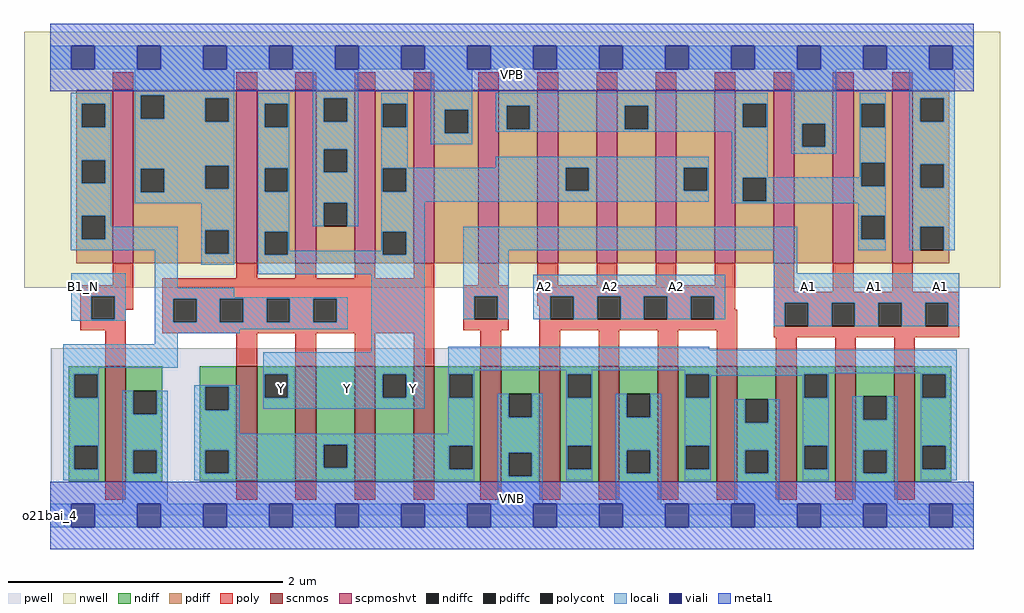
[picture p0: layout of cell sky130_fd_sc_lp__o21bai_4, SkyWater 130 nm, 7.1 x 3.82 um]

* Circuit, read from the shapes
.subckt sky130_fd_sc_lp__o21bai_4 A1 A2 B1_N VGND VNB VPB VPWR Y
XM1 VGND B1_N n1 VNB sky130_fd_pr__nfet_01v8 w=0.84 l=0.15
XM2 Y n1 n2 VNB sky130_fd_pr__nfet_01v8 w=0.84 l=0.15 m=4
XM3 VGND A1 n2 VNB sky130_fd_pr__nfet_01v8 w=0.84 l=0.15 m=4
XM4 n2 A2 VGND VNB sky130_fd_pr__nfet_01v8 w=0.84 l=0.15 m=4
XM5 VPWR B1_N n1 VPB sky130_fd_pr__pfet_01v8_hvt w=1.26 l=0.15
XM6 Y n1 VPWR VPB sky130_fd_pr__pfet_01v8_hvt w=1.26 l=0.15 m=4
XM7 n3 A1 VPWR VPB sky130_fd_pr__pfet_01v8_hvt w=1.26 l=0.15 m=4
XM8 Y A2 n3 VPB sky130_fd_pr__pfet_01v8_hvt w=1.26 l=0.15 m=4
.ends

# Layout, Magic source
magic
tech sky130A
magscale 1 2
<< nwell >>
rect -38 331 1382 704
<< pwell >>
rect 1 49 1337 243
rect 0 0 1344 49
<< scnmos >>
rect 80 49 110 217
rect 271 49 301 217
rect 357 49 387 217
rect 443 49 473 217
rect 529 49 559 217
rect 626 49 656 217
rect 712 49 742 217
rect 798 49 828 217
rect 884 49 914 217
rect 970 49 1000 217
rect 1056 49 1086 217
rect 1142 49 1172 217
rect 1228 49 1258 217
<< scpmoshvt >>
rect 91 367 121 619
rect 271 367 301 619
rect 357 367 387 619
rect 443 367 473 619
rect 529 367 559 619
rect 623 367 653 619
rect 709 367 739 619
rect 795 367 825 619
rect 881 367 911 619
rect 967 367 997 619
rect 1053 367 1083 619
rect 1139 367 1169 619
rect 1225 367 1255 619
<< ndiff >>
rect 27 205 80 217
rect 27 171 35 205
rect 69 171 80 205
rect 27 101 80 171
rect 27 67 35 101
rect 69 67 80 101
rect 27 49 80 67
rect 110 181 163 217
rect 110 147 121 181
rect 155 147 163 181
rect 110 95 163 147
rect 110 61 121 95
rect 155 61 163 95
rect 110 49 163 61
rect 218 187 271 217
rect 218 153 226 187
rect 260 153 271 187
rect 218 95 271 153
rect 218 61 226 95
rect 260 61 271 95
rect 218 49 271 61
rect 301 205 357 217
rect 301 171 312 205
rect 346 171 357 205
rect 301 49 357 171
rect 387 103 443 217
rect 387 69 398 103
rect 432 69 443 103
rect 387 49 443 69
rect 473 205 529 217
rect 473 171 484 205
rect 518 171 529 205
rect 473 49 529 171
rect 559 205 626 217
rect 559 171 581 205
rect 615 171 626 205
rect 559 101 626 171
rect 559 67 581 101
rect 615 67 626 101
rect 559 49 626 67
rect 656 177 712 217
rect 656 143 667 177
rect 701 143 712 177
rect 656 91 712 143
rect 656 57 667 91
rect 701 57 712 91
rect 656 49 712 57
rect 742 205 798 217
rect 742 171 753 205
rect 787 171 798 205
rect 742 101 798 171
rect 742 67 753 101
rect 787 67 798 101
rect 742 49 798 67
rect 828 177 884 217
rect 828 143 839 177
rect 873 143 884 177
rect 828 95 884 143
rect 828 61 839 95
rect 873 61 884 95
rect 828 49 884 61
rect 914 205 970 217
rect 914 171 925 205
rect 959 171 970 205
rect 914 101 970 171
rect 914 67 925 101
rect 959 67 970 101
rect 914 49 970 67
rect 1000 169 1056 217
rect 1000 135 1011 169
rect 1045 135 1056 169
rect 1000 95 1056 135
rect 1000 61 1011 95
rect 1045 61 1056 95
rect 1000 49 1056 61
rect 1086 205 1142 217
rect 1086 171 1097 205
rect 1131 171 1142 205
rect 1086 101 1142 171
rect 1086 67 1097 101
rect 1131 67 1142 101
rect 1086 49 1142 67
rect 1172 173 1228 217
rect 1172 139 1183 173
rect 1217 139 1228 173
rect 1172 95 1228 139
rect 1172 61 1183 95
rect 1217 61 1228 95
rect 1172 49 1228 61
rect 1258 205 1311 217
rect 1258 171 1269 205
rect 1303 171 1311 205
rect 1258 101 1311 171
rect 1258 67 1269 101
rect 1303 67 1311 101
rect 1258 49 1311 67
<< pdiff >>
rect 38 599 91 619
rect 38 565 46 599
rect 80 565 91 599
rect 38 517 91 565
rect 38 483 46 517
rect 80 483 91 517
rect 38 436 91 483
rect 38 402 46 436
rect 80 402 91 436
rect 38 367 91 402
rect 121 611 271 619
rect 121 577 132 611
rect 166 607 271 611
rect 166 577 226 607
rect 121 573 226 577
rect 260 573 271 607
rect 121 509 271 573
rect 121 504 226 509
rect 121 470 132 504
rect 166 475 226 504
rect 260 475 271 509
rect 166 470 271 475
rect 121 415 271 470
rect 121 381 226 415
rect 260 381 271 415
rect 121 367 271 381
rect 301 599 357 619
rect 301 565 312 599
rect 346 565 357 599
rect 301 505 357 565
rect 301 471 312 505
rect 346 471 357 505
rect 301 413 357 471
rect 301 379 312 413
rect 346 379 357 413
rect 301 367 357 379
rect 387 607 443 619
rect 387 573 398 607
rect 432 573 443 607
rect 387 533 443 573
rect 387 499 398 533
rect 432 499 443 533
rect 387 455 443 499
rect 387 421 398 455
rect 432 421 443 455
rect 387 367 443 421
rect 473 599 529 619
rect 473 565 484 599
rect 518 565 529 599
rect 473 505 529 565
rect 473 471 484 505
rect 518 471 529 505
rect 473 413 529 471
rect 473 379 484 413
rect 518 379 529 413
rect 473 367 529 379
rect 559 590 623 619
rect 559 556 574 590
rect 608 556 623 590
rect 559 367 623 556
rect 653 596 709 619
rect 653 562 664 596
rect 698 562 709 596
rect 653 367 709 562
rect 739 506 795 619
rect 739 472 750 506
rect 784 472 795 506
rect 739 367 795 472
rect 825 596 881 619
rect 825 562 836 596
rect 870 562 881 596
rect 825 367 881 562
rect 911 506 967 619
rect 911 472 922 506
rect 956 472 967 506
rect 911 367 967 472
rect 997 599 1053 619
rect 997 565 1008 599
rect 1042 565 1053 599
rect 997 491 1053 565
rect 997 457 1008 491
rect 1042 457 1053 491
rect 997 367 1053 457
rect 1083 570 1139 619
rect 1083 536 1094 570
rect 1128 536 1139 570
rect 1083 367 1139 536
rect 1169 599 1225 619
rect 1169 565 1180 599
rect 1214 565 1225 599
rect 1169 513 1225 565
rect 1169 479 1180 513
rect 1214 479 1225 513
rect 1169 436 1225 479
rect 1169 402 1180 436
rect 1214 402 1225 436
rect 1169 367 1225 402
rect 1255 607 1308 619
rect 1255 573 1266 607
rect 1300 573 1308 607
rect 1255 511 1308 573
rect 1255 477 1266 511
rect 1300 477 1308 511
rect 1255 420 1308 477
rect 1255 386 1266 420
rect 1300 386 1308 420
rect 1255 367 1308 386
<< ndiffc >>
rect 35 171 69 205
rect 35 67 69 101
rect 121 147 155 181
rect 121 61 155 95
rect 226 153 260 187
rect 226 61 260 95
rect 312 171 346 205
rect 398 69 432 103
rect 484 171 518 205
rect 581 171 615 205
rect 581 67 615 101
rect 667 143 701 177
rect 667 57 701 91
rect 753 171 787 205
rect 753 67 787 101
rect 839 143 873 177
rect 839 61 873 95
rect 925 171 959 205
rect 925 67 959 101
rect 1011 135 1045 169
rect 1011 61 1045 95
rect 1097 171 1131 205
rect 1097 67 1131 101
rect 1183 139 1217 173
rect 1183 61 1217 95
rect 1269 171 1303 205
rect 1269 67 1303 101
<< pdiffc >>
rect 46 565 80 599
rect 46 483 80 517
rect 46 402 80 436
rect 132 577 166 611
rect 226 573 260 607
rect 132 470 166 504
rect 226 475 260 509
rect 226 381 260 415
rect 312 565 346 599
rect 312 471 346 505
rect 312 379 346 413
rect 398 573 432 607
rect 398 499 432 533
rect 398 421 432 455
rect 484 565 518 599
rect 484 471 518 505
rect 484 379 518 413
rect 574 556 608 590
rect 664 562 698 596
rect 750 472 784 506
rect 836 562 870 596
rect 922 472 956 506
rect 1008 565 1042 599
rect 1008 457 1042 491
rect 1094 536 1128 570
rect 1180 565 1214 599
rect 1180 479 1214 513
rect 1180 402 1214 436
rect 1266 573 1300 607
rect 1266 477 1300 511
rect 1266 386 1300 420
<< poly >>
rect 91 619 121 645
rect 271 619 301 645
rect 357 619 387 645
rect 443 619 473 645
rect 529 619 559 645
rect 623 619 653 645
rect 709 619 739 645
rect 795 619 825 645
rect 881 619 911 645
rect 967 619 997 645
rect 1053 619 1083 645
rect 1139 619 1169 645
rect 1225 619 1255 645
rect 91 335 121 367
rect 271 345 301 367
rect 357 345 387 367
rect 443 345 473 367
rect 529 345 559 367
rect 44 319 121 335
rect 44 285 60 319
rect 94 299 121 319
rect 163 315 559 345
rect 623 335 653 367
rect 709 335 739 367
rect 795 335 825 367
rect 881 335 911 367
rect 967 335 997 367
rect 94 285 110 299
rect 44 269 110 285
rect 80 217 110 269
rect 163 281 179 315
rect 213 281 247 315
rect 281 281 315 315
rect 349 281 383 315
rect 417 281 559 315
rect 163 265 559 281
rect 601 319 667 335
rect 601 285 617 319
rect 651 285 667 319
rect 709 319 997 335
rect 709 305 728 319
rect 601 269 667 285
rect 712 285 728 305
rect 762 285 796 319
rect 830 285 864 319
rect 898 285 932 319
rect 966 299 997 319
rect 1053 325 1083 367
rect 1139 325 1169 367
rect 1225 325 1255 367
rect 1053 309 1323 325
rect 966 285 1000 299
rect 712 269 1000 285
rect 271 217 301 265
rect 357 217 387 265
rect 443 217 473 265
rect 529 217 559 265
rect 626 217 656 269
rect 712 217 742 269
rect 798 217 828 269
rect 884 217 914 269
rect 970 217 1000 269
rect 1053 275 1069 309
rect 1103 275 1137 309
rect 1171 275 1205 309
rect 1239 275 1273 309
rect 1307 275 1323 309
rect 1053 259 1323 275
rect 1056 217 1086 259
rect 1142 217 1172 259
rect 1228 217 1258 259
rect 80 23 110 49
rect 271 23 301 49
rect 357 23 387 49
rect 443 23 473 49
rect 529 23 559 49
rect 626 23 656 49
rect 712 23 742 49
rect 798 23 828 49
rect 884 23 914 49
rect 970 23 1000 49
rect 1056 23 1086 49
rect 1142 23 1172 49
rect 1228 23 1258 49
<< polycont >>
rect 60 285 94 319
rect 179 281 213 315
rect 247 281 281 315
rect 315 281 349 315
rect 383 281 417 315
rect 617 285 651 319
rect 728 285 762 319
rect 796 285 830 319
rect 864 285 898 319
rect 932 285 966 319
rect 1069 275 1103 309
rect 1137 275 1171 309
rect 1205 275 1239 309
rect 1273 275 1307 309
<< locali >>
rect 0 649 31 683
rect 65 649 127 683
rect 161 649 223 683
rect 257 649 319 683
rect 353 649 415 683
rect 449 649 511 683
rect 545 649 607 683
rect 641 649 703 683
rect 737 649 799 683
rect 833 649 895 683
rect 929 649 991 683
rect 1025 649 1087 683
rect 1121 649 1183 683
rect 1217 649 1279 683
rect 1313 649 1344 683
rect 30 599 89 615
rect 30 565 46 599
rect 80 565 89 599
rect 30 517 89 565
rect 30 483 46 517
rect 80 483 89 517
rect 30 436 89 483
rect 123 611 268 649
rect 123 577 132 611
rect 166 607 268 611
rect 166 577 226 607
rect 123 573 226 577
rect 260 573 268 607
rect 123 509 268 573
rect 123 504 226 509
rect 123 470 132 504
rect 166 475 226 504
rect 260 475 268 509
rect 166 470 268 475
rect 123 454 268 470
rect 30 402 46 436
rect 80 420 89 436
rect 80 402 186 420
rect 30 386 186 402
rect 31 319 110 352
rect 31 285 60 319
rect 94 285 110 319
rect 31 283 110 285
rect 152 331 186 386
rect 220 415 268 454
rect 220 381 226 415
rect 260 381 268 415
rect 220 365 268 381
rect 302 599 348 615
rect 302 565 312 599
rect 346 565 348 599
rect 302 505 348 565
rect 302 471 312 505
rect 346 471 348 505
rect 302 413 348 471
rect 382 607 448 649
rect 382 573 398 607
rect 432 573 448 607
rect 382 533 448 573
rect 382 499 398 533
rect 432 499 448 533
rect 382 455 448 499
rect 382 421 398 455
rect 432 421 448 455
rect 482 599 520 615
rect 482 565 484 599
rect 518 565 520 599
rect 482 506 520 565
rect 554 590 614 649
rect 554 556 574 590
rect 608 556 614 590
rect 648 599 1044 615
rect 648 596 1008 599
rect 648 562 664 596
rect 698 562 836 596
rect 870 565 1008 596
rect 1042 565 1044 599
rect 870 562 1044 565
rect 648 558 1044 562
rect 554 540 614 556
rect 648 506 958 522
rect 482 505 750 506
rect 482 471 484 505
rect 518 472 750 505
rect 784 472 922 506
rect 956 472 958 506
rect 518 471 958 472
rect 482 456 958 471
rect 992 492 1044 558
rect 1078 570 1144 649
rect 1078 536 1094 570
rect 1128 536 1144 570
rect 1078 526 1144 536
rect 1178 599 1216 615
rect 1178 565 1180 599
rect 1214 565 1216 599
rect 1178 513 1216 565
rect 1178 492 1180 513
rect 992 491 1180 492
rect 992 457 1008 491
rect 1042 479 1180 491
rect 1214 479 1216 513
rect 1042 457 1216 479
rect 302 379 312 413
rect 346 385 348 413
rect 482 413 545 456
rect 992 454 1216 457
rect 1176 436 1216 454
rect 482 385 484 413
rect 346 379 484 385
rect 518 379 545 413
rect 302 351 545 379
rect 152 317 268 331
rect 152 315 433 317
rect 152 281 179 315
rect 213 281 247 315
rect 281 281 315 315
rect 349 281 383 315
rect 417 281 433 315
rect 152 271 433 281
rect 152 265 276 271
rect 152 249 186 265
rect 19 215 186 249
rect 467 237 545 351
rect 601 386 1087 420
rect 1176 402 1180 436
rect 1214 402 1216 436
rect 1176 386 1216 402
rect 1250 607 1316 649
rect 1250 573 1266 607
rect 1300 573 1316 607
rect 1250 511 1316 573
rect 1250 477 1266 511
rect 1300 477 1316 511
rect 1250 420 1316 477
rect 1250 386 1266 420
rect 1300 386 1316 420
rect 601 319 667 386
rect 1053 352 1087 386
rect 601 285 617 319
rect 651 285 667 319
rect 703 319 982 350
rect 703 285 728 319
rect 762 285 796 319
rect 830 285 864 319
rect 898 285 932 319
rect 966 285 982 319
rect 1053 309 1323 352
rect 1053 275 1069 309
rect 1103 275 1137 309
rect 1171 275 1205 309
rect 1239 275 1273 309
rect 1307 275 1323 309
rect 19 205 71 215
rect 19 171 35 205
rect 69 171 71 205
rect 310 205 545 237
rect 210 187 276 189
rect 19 101 71 171
rect 19 67 35 101
rect 69 67 71 101
rect 19 51 71 67
rect 105 147 121 181
rect 155 147 171 181
rect 105 95 171 147
rect 105 61 121 95
rect 155 61 171 95
rect 105 17 171 61
rect 210 153 226 187
rect 260 153 276 187
rect 310 171 312 205
rect 346 171 484 205
rect 518 171 545 205
rect 310 155 545 171
rect 579 241 959 245
rect 579 211 1319 241
rect 579 205 617 211
rect 579 171 581 205
rect 615 171 617 205
rect 751 205 789 211
rect 210 119 276 153
rect 579 119 617 171
rect 210 103 617 119
rect 210 95 398 103
rect 210 61 226 95
rect 260 69 398 95
rect 432 101 617 103
rect 432 69 581 101
rect 260 67 581 69
rect 615 67 617 101
rect 260 61 617 67
rect 210 51 617 61
rect 651 143 667 177
rect 701 143 717 177
rect 651 91 717 143
rect 651 57 667 91
rect 701 57 717 91
rect 651 17 717 57
rect 751 171 753 205
rect 787 171 789 205
rect 923 207 1319 211
rect 923 205 1133 207
rect 751 101 789 171
rect 751 67 753 101
rect 787 67 789 101
rect 751 51 789 67
rect 823 143 839 177
rect 873 143 889 177
rect 823 95 889 143
rect 823 61 839 95
rect 873 61 889 95
rect 823 17 889 61
rect 923 171 925 205
rect 959 203 1097 205
rect 959 171 961 203
rect 923 101 961 171
rect 1095 171 1097 203
rect 1131 171 1133 205
rect 1267 205 1319 207
rect 923 67 925 101
rect 959 67 961 101
rect 923 51 961 67
rect 995 135 1011 169
rect 1045 135 1061 169
rect 995 95 1061 135
rect 995 61 1011 95
rect 1045 61 1061 95
rect 995 17 1061 61
rect 1095 101 1133 171
rect 1095 67 1097 101
rect 1131 67 1133 101
rect 1095 51 1133 67
rect 1167 139 1183 173
rect 1217 139 1233 173
rect 1167 95 1233 139
rect 1167 61 1183 95
rect 1217 61 1233 95
rect 1167 17 1233 61
rect 1267 171 1269 205
rect 1303 171 1319 205
rect 1267 101 1319 171
rect 1267 67 1269 101
rect 1303 67 1319 101
rect 1267 51 1319 67
rect 0 -17 31 17
rect 65 -17 127 17
rect 161 -17 223 17
rect 257 -17 319 17
rect 353 -17 415 17
rect 449 -17 511 17
rect 545 -17 607 17
rect 641 -17 703 17
rect 737 -17 799 17
rect 833 -17 895 17
rect 929 -17 991 17
rect 1025 -17 1087 17
rect 1121 -17 1183 17
rect 1217 -17 1279 17
rect 1313 -17 1344 17
<< viali >>
rect 31 649 65 683
rect 127 649 161 683
rect 223 649 257 683
rect 319 649 353 683
rect 415 649 449 683
rect 511 649 545 683
rect 607 649 641 683
rect 703 649 737 683
rect 799 649 833 683
rect 895 649 929 683
rect 991 649 1025 683
rect 1087 649 1121 683
rect 1183 649 1217 683
rect 1279 649 1313 683
rect 31 -17 65 17
rect 127 -17 161 17
rect 223 -17 257 17
rect 319 -17 353 17
rect 415 -17 449 17
rect 511 -17 545 17
rect 607 -17 641 17
rect 703 -17 737 17
rect 799 -17 833 17
rect 895 -17 929 17
rect 991 -17 1025 17
rect 1087 -17 1121 17
rect 1183 -17 1217 17
rect 1279 -17 1313 17
<< metal1 >>
rect 0 683 1344 715
rect 0 649 31 683
rect 65 649 127 683
rect 161 649 223 683
rect 257 649 319 683
rect 353 649 415 683
rect 449 649 511 683
rect 545 649 607 683
rect 641 649 703 683
rect 737 649 799 683
rect 833 649 895 683
rect 929 649 991 683
rect 1025 649 1087 683
rect 1121 649 1183 683
rect 1217 649 1279 683
rect 1313 649 1344 683
rect 0 617 1344 649
rect 0 17 1344 49
rect 0 -17 31 17
rect 65 -17 127 17
rect 161 -17 223 17
rect 257 -17 319 17
rect 353 -17 415 17
rect 449 -17 511 17
rect 545 -17 607 17
rect 641 -17 703 17
rect 737 -17 799 17
rect 833 -17 895 17
rect 929 -17 991 17
rect 1025 -17 1087 17
rect 1121 -17 1183 17
rect 1217 -17 1279 17
rect 1313 -17 1344 17
rect 0 -49 1344 -17
<< labels >>
flabel pwell s 0 0 1344 49 0 FreeSans 200 0 0 0 VNB
port 5 nsew ground bidirectional
flabel nwell s 0 617 1344 666 0 FreeSans 200 0 0 0 VPB
port 6 nsew power bidirectional
rlabel comment s 0 0 0 0 4 o21bai_4
flabel metal1 s 0 617 1344 666 0 FreeSans 340 0 0 0 VPWR
port 7 nsew power bidirectional
flabel metal1 s 0 0 1344 49 0 FreeSans 340 0 0 0 VGND
port 4 nsew ground bidirectional
flabel locali s 319 168 353 202 0 FreeSans 340 0 0 0 Y
port 8 nsew signal output
flabel locali s 415 168 449 202 0 FreeSans 340 0 0 0 Y
port 8 nsew signal output
flabel locali s 511 168 545 202 0 FreeSans 340 0 0 0 Y
port 8 nsew signal output
flabel locali s 31 316 65 350 0 FreeSans 340 0 0 0 B1_N
port 3 nsew signal input
flabel locali s 1087 316 1121 350 0 FreeSans 340 0 0 0 A1
port 1 nsew signal input
flabel locali s 1183 316 1217 350 0 FreeSans 340 0 0 0 A1
port 1 nsew signal input
flabel locali s 1279 316 1313 350 0 FreeSans 340 0 0 0 A1
port 1 nsew signal input
flabel locali s 703 316 737 350 0 FreeSans 340 0 0 0 A2
port 2 nsew signal input
flabel locali s 799 316 833 350 0 FreeSans 340 0 0 0 A2
port 2 nsew signal input
flabel locali s 895 316 929 350 0 FreeSans 340 0 0 0 A2
port 2 nsew signal input
<< properties >>
string LEFsite unit
string LEFclass CORE
string FIXED_BBOX 0 0 1344 666
string GDS_FILE $PDKPATH/libs.ref/sky130_fd_sc_lp/gds/sky130_fd_sc_lp.gds
string LEFsymmetry X Y R90
string GDS_END 5174282
string GDS_START 5162718
<< end >>
